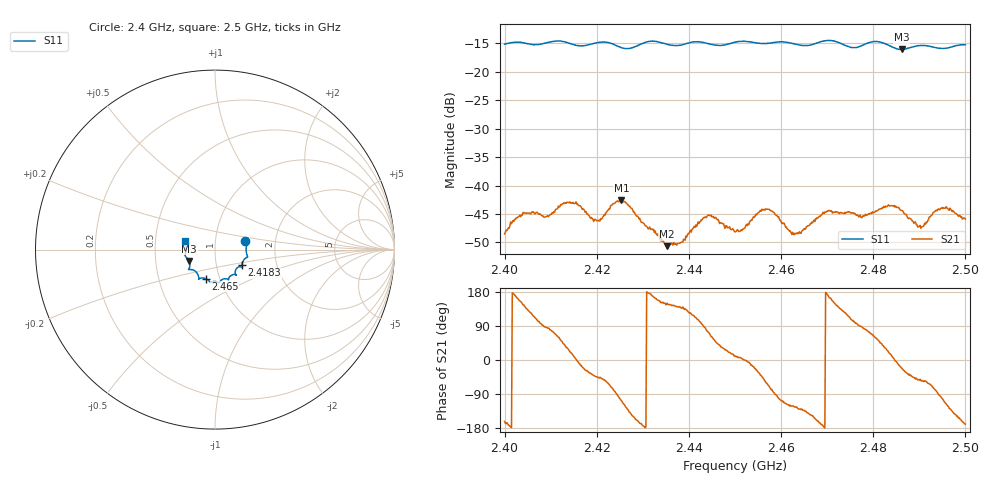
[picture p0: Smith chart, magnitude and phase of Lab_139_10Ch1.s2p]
# Hz S RI R 50
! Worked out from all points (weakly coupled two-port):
!   601 points, 2.4 GHz to 2.5 GHz, reference 50 ohm
!   highest |S21| = -42.61 dB at 2.4253 GHz (marker M1); lowest = -50.6 dB at 2.4352 GHz (marker M2)
!   lowest |S11| = -16.1 dB at 2.4862 GHz (marker M3), VSWR 1.37, Z = 37.2 - j4.82 ohm
!   |S11| at or under -10 dB: start of sweep to end of sweep
!   S12 and S22 are empty: the file has one direction only
!   S11 on the Smith chart (normalised r, x): 2.4 GHz: 1.40, +0.14; 2.4183 GHz: 1.33, -0.24; 2.465 GHz: 0.86, -0.29; 2.5 GHz: 0.71, +0.07
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2.4e9  0.1688 0.047  -0.00358 -0.00114  0 0  0 0
2.4045e9  0.1766 0.0237  -0.00437 0.00373  0 0  0 0
2.416667e9  0.1544 -0.0683  0.00622 -0.00162  0 0  0 0
2.418333e9  0.1499 -0.0869  0.00452 -0.00302  0 0  0 0
2.4205e9  0.152 -0.0994  0.00333 -0.00367  0 0  0 0
2.425333e9  0.1313 -0.0965  -0.00218 -0.00708  0 0  0 0
2.433333e9  0.1175 -0.1409  -0.00346 0.00142  0 0  0 0
2.435167e9  0.1074 -0.1381  -0.00248 0.00158  0 0  0 0
2.438667e9  0.0796 -0.1542  -0.00244 0.00205  0 0  0 0
2.444333e9  0.0667 -0.1633  0.00176 0.00524  0 0  0 0
2.45e9  0.026 -0.1804  0.00385 0.00066  0 0  0 0
2.456833e9  -0.0078 -0.1773  0.00298 -0.00542  0 0  0 0
2.462333e9  -0.0325 -0.1753  -0.00195 -0.00317  0 0  0 0
2.465e9  -0.0525 -0.1617  -0.00283 -0.00309  0 0  0 0
2.466667e9  -0.0714 -0.1578  -0.00398 -0.00262  0 0  0 0
2.47e9  -0.0912 -0.1649  -0.00594 0.00068  0 0  0 0
2.477333e9  -0.1253 -0.1125  0.000126 0.00526  0 0  0 0
2.483333e9  -0.1413 -0.0968  0.00636 0.00236  0 0  0 0
2.486167e9  -0.1438 -0.0632  0.00563 -0.00221  0 0  0 0
2.490167e9  -0.1662 -0.0366  0.00283 -0.00346  0 0  0 0
2.495333e9  -0.1604 0.00753  -0.00201 -0.00604  0 0  0 0
2.5e9  -0.1666 0.0467  -0.00499 -0.000955  0 0  0 0
